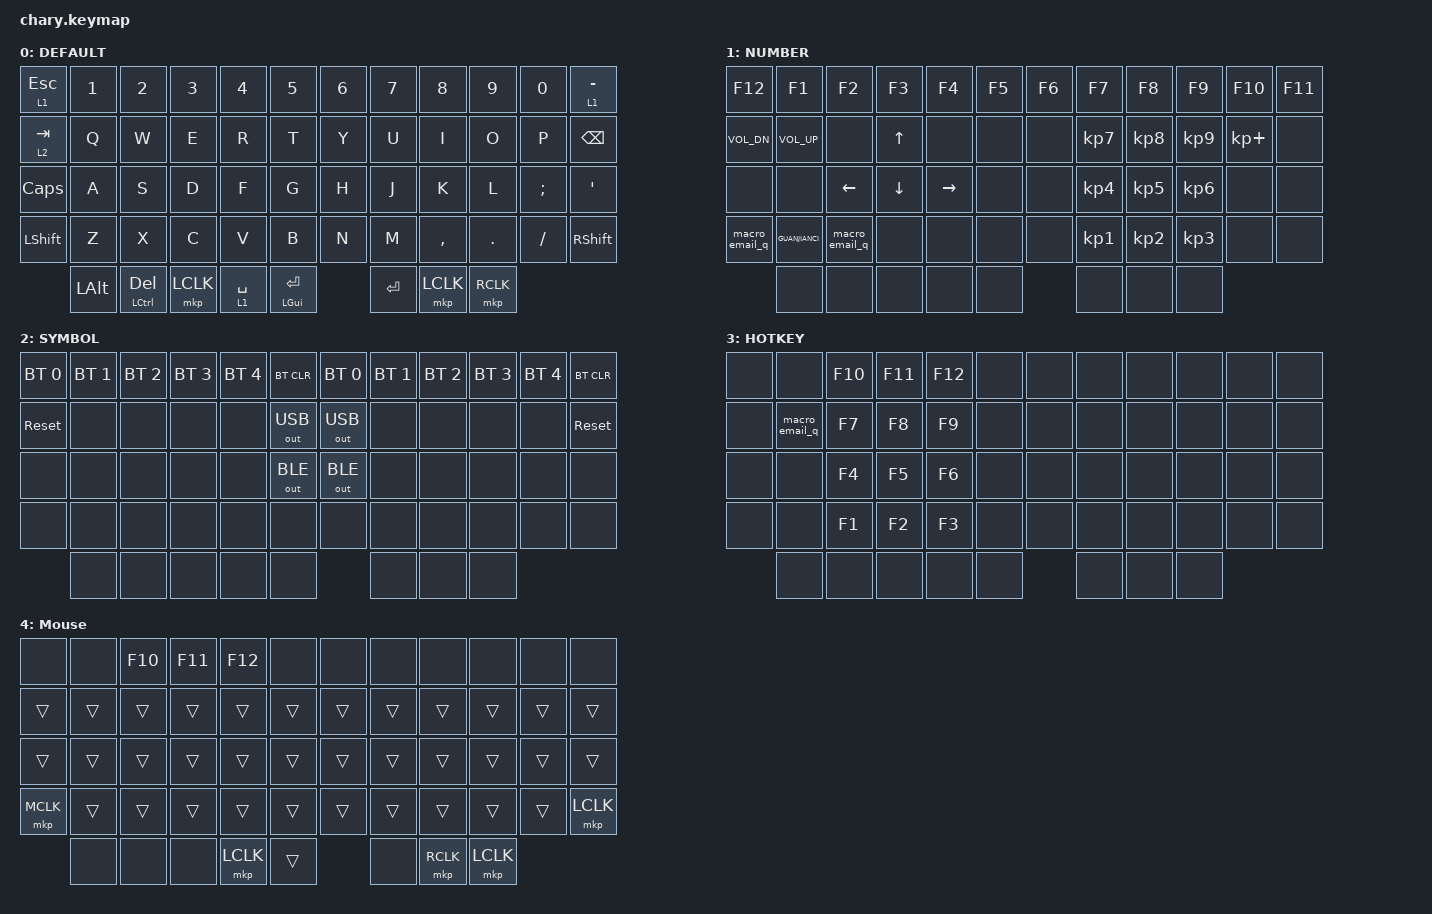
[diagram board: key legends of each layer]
#include <behaviors/mouse_keys.dtsi>
#include <behaviors.dtsi>
#include <dt-bindings/zmk/bt.h>
#include <dt-bindings/zmk/keys.h>
#include <dt-bindings/zmk/mouse.h>
#include <dt-bindings/zmk/outputs.h>

#define DEFAULT 0
#define NUMBER  1
#define SYMBOL  2
#define HOTKEY  3

#define AS(keycode) &as LS(keycode) keycode

/ {
    macros {
        macro_email_q: macro_email_q {
            // 714448168@qq.com

            label = "MACRO_EMAIL_QQ";
            compatible = "zmk,behavior-macro";
            #binding-cells = <0>;
            bindings = <&kp N7 &kp N1 &kp N4 &kp N4 &kp N4 &kp N8 &kp N1 &kp N6 &kp N8 &kp AT &kp Q &kp Q &kp DOT &kp C &kp O &kp M>;
        };

        GUANJIANCI: GUANJIANCI {
            compatible = "zmk,behavior-macro";
            label = "new_macro";
            #binding-cells = <0>;
            bindings = <&kp LSHIFT &kp LBKT &kp RBKT &kp LEFT &kp LSHIFT>;
        };
    };

    combos {
        compatible = "zmk,combos";

        lup {
            bindings = <&kp UP>;
            key-positions = <15 16>;
            layers = <0 1>;
            timeout-ms = <50>;
        };

        ldown {
            bindings = <&kp DOWN>;
            key-positions = <39 40>;
            timeout-ms = <50>;
        };

        lleft {
            bindings = <&kp LEFT>;
            key-positions = <26 27>;
            layers = <0 1>;
            timeout-ms = <50>;
        };

        lright {
            bindings = <&kp RIGHT>;
            key-positions = <27 28>;
            layers = <0 1>;
            timeout-ms = <50>;
        };

        rup {
            bindings = <&kp UP>;
            key-positions = <19 20>;
            layers = <0 1>;
            timeout-ms = <50>;
        };

        rdown {
            bindings = <&kp DOWN>;
            key-positions = <43 44>;
            timeout-ms = <50>;
        };

        rleft {
            bindings = <&kp LEFT>;
            key-positions = <31 32>;
            layers = <0 1>;
            timeout-ms = <50>;
        };

        rright {
            bindings = <&kp RIGHT>;
            key-positions = <32 33>;
            layers = <0 1>;
            timeout-ms = <50>;
        };
    };

    keymap {
        compatible = "zmk,keymap";

        default_layer {
            label = "DEFAULT";
            bindings = <
&lt 1 ESC     &kp N1        &kp N2         &kp N3     &kp N4       &kp N5           &kp N6  &kp N7     &kp N8     &kp N9     &kp N0    &lt 1 MINUS
&lt 2 TAB     &kp Q         &kp W          &kp E      &kp R        &kp T            &kp Y   &kp U      &kp I      &kp O      &kp P     &kp BACKSPACE
&kp CAPSLOCK  &kp A         &kp S          &kp D      &kp F        &kp G            &kp H   &kp J      &kp K      &kp L      &kp SEMI  &kp SQT
&kp LSHFT     &kp Z         &kp X          &kp C      &kp V        &kp B            &kp N   &kp M      &kp COMMA  &kp DOT    &kp FSLH  &kp RSHFT
              &kp LEFT_ALT  &mt LCTRL DEL  &mkp LCLK  &lt 1 SPACE  &mt LGUI RETURN          &kp ENTER  &mkp LCLK  &mkp RCLK
            >;
        };

        number_layer {
            label = "NUMBER";
            bindings = <
&kp F12         &kp F1        &kp F2          &kp F3    &kp F4     &kp F5  &kp F6  &kp F7     &kp F8     &kp F9     &kp F10      &kp F11
&kp C_VOL_DN    &kp C_VOL_UP  &none           &kp UP    &none      &none   &none   &kp KP_N7  &kp KP_N8  &kp KP_N9  &kp KP_PLUS  &none
&none           &none         &kp LEFT        &kp DOWN  &kp RIGHT  &none   &none   &kp KP_N4  &kp KP_N5  &kp KP_N6  &none        &none
&macro_email_q  &GUANJIANCI   &macro_email_q  &none     &none      &none   &none   &kp KP_N1  &kp KP_N2  &kp KP_N3  &none        &none
                &none         &none           &none     &none      &none           &none      &none      &none
            >;
        };

        symbol_layer {
            label = "SYMBOL";
            bindings = <
&bt BT_SEL 0  &bt BT_SEL 1  &bt BT_SEL 2  &bt BT_SEL 3  &bt BT_SEL 4  &bt BT_CLR    &bt BT_SEL 0  &bt BT_SEL 1  &bt BT_SEL 2  &bt BT_SEL 3  &bt BT_SEL 4  &bt BT_CLR
&sys_reset    &none         &none         &none         &none         &out OUT_USB  &out OUT_USB  &none         &none         &none         &none         &sys_reset
&none         &none         &none         &none         &none         &out OUT_BLE  &out OUT_BLE  &none         &none         &none         &none         &none
&none         &none         &none         &none         &none         &none         &none         &none         &none         &none         &none         &none
              &none         &none         &none         &none         &none                       &none         &none         &none
            >;
        };

        hotkey_layer {
            label = "HOTKEY";
            bindings = <
&none  &none           &kp F10  &kp F11  &kp F12  &none  &none  &none  &none  &none  &none  &none
&none  &macro_email_q  &kp F7   &kp F8   &kp F9   &none  &none  &none  &none  &none  &none  &none
&none  &none           &kp F4   &kp F5   &kp F6   &none  &none  &none  &none  &none  &none  &none
&none  &none           &kp F1   &kp F2   &kp F3   &none  &none  &none  &none  &none  &none  &none
       &none           &none    &none    &none    &none         &none  &none  &none
            >;
        };

        Mouse {
            bindings = <
&none      &none   &kp F10  &kp F11  &kp F12    &none   &none   &none   &none      &none      &none   &none
&trans     &trans  &trans   &trans   &trans     &trans  &trans  &trans  &trans     &trans     &trans  &trans
&trans     &trans  &trans   &trans   &trans     &trans  &trans  &trans  &trans     &trans     &trans  &trans
&mkp MCLK  &trans  &trans   &trans   &trans     &trans  &trans  &trans  &trans     &trans     &trans  &mkp LCLK
           &none   &none    &none    &mkp LCLK  &trans          &none   &mkp RCLK  &mkp LCLK
            >;
        };
    };
};
